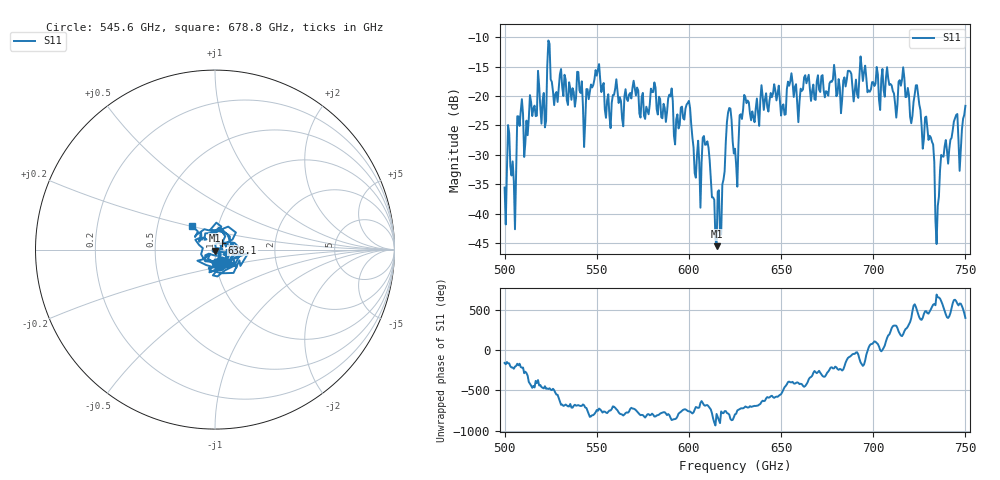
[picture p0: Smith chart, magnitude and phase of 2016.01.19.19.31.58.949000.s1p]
!Created with skrf (http://scikit-rf.org).
# GHz S RI R 50.0
!freq ReS11 ImS11
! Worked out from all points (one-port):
!   401 points, 500 GHz to 750 GHz, reference 50 ohm
!   lowest |S11| = -45.5 dB at 615 GHz (marker M1), VSWR 1.01, Z = 50.2 - j0.508 ohm
!   |S11| at or under -10 dB: start of sweep to end of sweep
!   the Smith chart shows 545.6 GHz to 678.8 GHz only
!   S11 on the Smith chart (normalised r, x): 545.6 GHz: 1.04, -0.19; 638.1 GHz: 1.08, +0.08; 678.8 GHz: 0.75, +0.20
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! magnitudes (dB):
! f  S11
! 500 GHz  -35.5
! 503.1 GHz  -32.0
! 505 GHz  -34.5
! 508.1 GHz  -25.1
! 521.2 GHz  -19.5
! 524.4 GHz  -11.1
! 531.2 GHz  -18.5
! 545.6 GHz  -20.5
! 562.5 GHz  -20.2
! 580.6 GHz  -19.3
! 593.8 GHz  -23.1
! 599.4 GHz  -21.2
! 605 GHz  -27.6
! 609.4 GHz  -28.2
! 615 GHz  -45.5
! 618.1 GHz  -35.0
! 621.9 GHz  -22.0
! 625 GHz  -28.9
! 630.6 GHz  -20.2
! 638.1 GHz  -25.1
! 656.2 GHz  -17.7
! 678.8 GHz  -14.7
! 687.5 GHz  -15.8
! 718.8 GHz  -18.6
! 731.2 GHz  -27.0
! 735 GHz  -38.7
! 738.1 GHz  -30.3
! 750 GHz  -21.7
